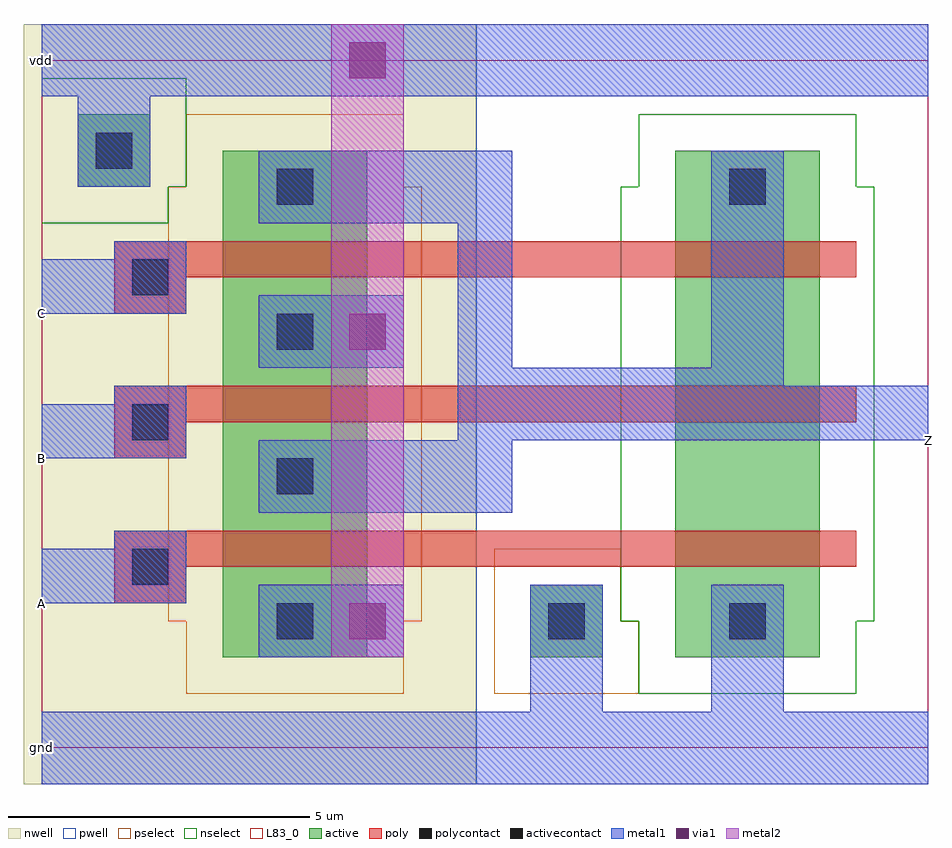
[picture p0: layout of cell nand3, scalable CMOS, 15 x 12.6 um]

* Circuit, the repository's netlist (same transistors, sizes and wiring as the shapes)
.SUBCKT nand3 A B C Z vdd gnd
M1 gnd A net1 gnd n w=2.4u l=0.6u 
M2 net1 B net2 gnd n w=2.4u l=0.6u 
M3 net2 C Z gnd n w=2.4u l=0.6u 
M4 vdd A Z vdd p w=2.4u l=0.6u 
M5 Z B vdd vdd p w=2.4u l=0.6u 
M6 vdd C Z vdd p w=2.4u l=0.6u 
.ENDS nand3

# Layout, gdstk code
import gdstk
lib = gdstk.Library(unit=1e-6, precision=1e-09)
def R(c, l, rs):  # rectangles x0, y0, x1, y1
    for r in rs: c.add(gdstk.rectangle(r[:2], r[2:], *l))
def A(c, l, x, y, w, h, nx, ny, dx, dy):  # array of equal rectangles
    R(c, l, [(x+i*dx, y+j*dy, x+i*dx+w, y+j*dy+h) for i in range(nx) for j in range(ny)])
pwell = (41, 0)
nwell = (42, 0)
active = (43, 0)
pselect = (44, 0)
nselect = (45, 0)
poly = (46, 0)
polycontact = (47, 0)
activecontact = (48, 0)
metal1 = (49, 0)
via1 = (50, 0)
metal2 = (51, 0)
L83_0 = (83, 0)

nand3 = lib.new_cell('nand3')
R(nand3, pwell, [(7.2,-0.6,14.7,12)])
R(nand3, nwell, [(-0.3,-0.6,7.2,12)])
R(nand3, active, [(3,1.5,5.4,9.9), (8.1,1.5,9.3,2.7), (10.5,1.5,12.9,9.9), (0.6,9.3,1.8,10.5)])
R(nand3, pselect, [(2.4,0.9,6,2.1), (7.5,0.9,9.9,2.1), (2.1,2.1,6.3,9.3), (7.5,2.1,9.6,3.3), (2.4,9.3,6,10.5)])
R(nand3, nselect, [(9.9,0.9,13.5,2.1), (9.6,2.1,13.8,9.3), (0,8.7,2.1,9.3), (0,9.3,2.4,11.1), (9.9,9.3,13.5,10.5)])
A(nand3, poly, 1.2, 2.4, 1.2, 0.6, 1, 3, 0, 2.4)
A(nand3, poly, 1.2, 3, 12.3, 0.6, 1, 3, 0, 2.4)
A(nand3, polycontact, 1.5, 2.7, 0.6, 0.6, 1, 3, 0, 2.4)
A(nand3, activecontact, 3.9, 1.8, 0.6, 0.6, 1, 4, 0, 2.4)
R(nand3, activecontact, [(8.4,1.8,9,2.4), (11.4,1.8,12,2.4), (11.4,9,12,9.6), (0.9,9.6,1.5,10.2)])
A(nand3, metal1, 0, 2.4, 2.4, 0.9, 1, 3, 0, 2.4)
A(nand3, metal1, 1.2, 3.3, 1.2, 0.3, 1, 3, 0, 2.4)
R(nand3, metal1, [(0,-0.6,14.7,0.6), (8.1,0.6,9.3,2.7), (11.1,0.6,12.3,2.7), (3.6,1.5,6,2.7), (3.6,3.9,7.8,5.1), (6.9,5.1,14.7,6), (6.9,6,12.3,6.3), (3.6,6.3,6,7.5), (6.9,6.3,7.8,8.7), (11.1,6.3,12.3,9.9), (3.6,8.7,7.8,9.9), (0.6,9.3,1.8,10.8), (0,10.8,14.7,12)])
R(nand3, via1, [(5.1,1.8,5.7,2.4), (5.1,6.6,5.7,7.2), (5.1,11.1,5.7,11.7)])
R(nand3, metal2, [(4.8,1.5,6,12)])
R(nand3, L83_0, [(0,0,14.7,11.4)])
nand3.add(gdstk.Label('gnd', (0,0), layer=49, texttype=0))
nand3.add(gdstk.Label('vdd', (0,11.4), layer=49, texttype=0))
nand3.add(gdstk.Label('A', (0,2.4), layer=49, texttype=0))
nand3.add(gdstk.Label('B', (0,4.8), layer=49, texttype=0))
nand3.add(gdstk.Label('C', (0,7.2), layer=49, texttype=0))
nand3.add(gdstk.Label('Z', (14.7,5.1), layer=49, texttype=0))

lib.write_gds('nand3.gds')
